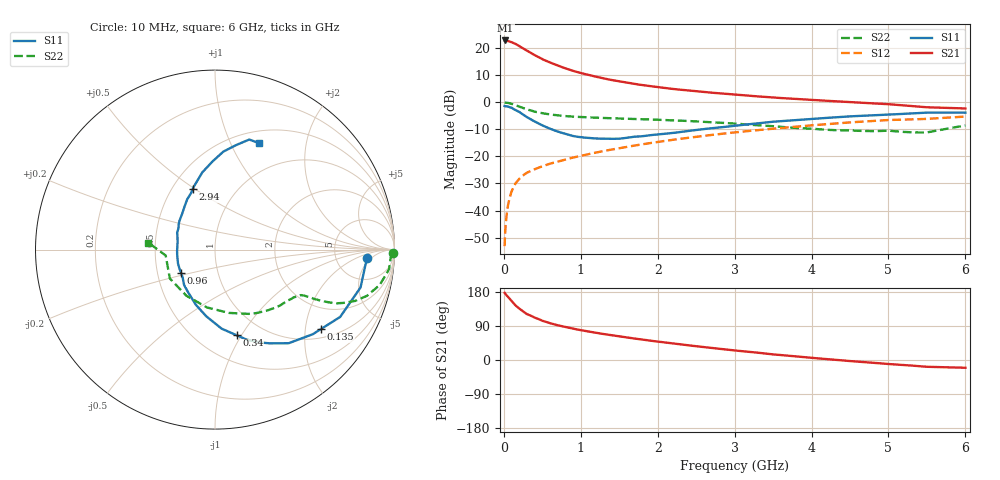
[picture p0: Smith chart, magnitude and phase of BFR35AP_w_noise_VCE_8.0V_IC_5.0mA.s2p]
! Infineon Technologies  Discrete & RF Semiconductors
! BFR35AP
! VCE =  8.0 V,  IC =  5.0 mA
! Common Emitter S-Parameters:  Nov 2015
# GHz  S  MA  R  50
!  f  S11  S21  S12  S22
! GHz  MAG  ANG  MAG  ANG  MAG  ANG  MAG  ANG
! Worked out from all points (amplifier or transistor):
!   210 points, 10 MHz to 6 GHz, reference 50 ohm
!   highest |S21| = 22.8 dB at 20 MHz (marker M1)
!   |S21| within 3 dB of that: start of sweep to 255 MHz
!   unconditionally stable (mu >= 1): 848.1 MHz to 3.047 GHz
!   at 185 MHz: K = 0.37, MSG = 24.9 dB, |S12| = -28.8 dB
!   at 1.52 GHz: K = 1.11, MAG = 10.2 dB, |S12| = -16.9 dB
!   at 6 GHz: K = 0.90, MSG = 1.5 dB, |S12| = -5.3 dB
!   lowest NFmin = 1.50 dB at 450 MHz
!   S11 on the Smith chart (normalised r, x): 10 MHz: 11, -4; 135 MHz: 1.25, -2.43; 340 MHz: 0.76, -0.95; 960 MHz: 0.66, -0.18; 2.94 GHz: 0.63, +0.49; 6 GHz: 0.64, +1.29
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0.01  0.8505 -3.1  13.8 177.2  0.0022 89.5  0.9932 -1.2
0.02  0.8421 -6.0  13.81 174.4  0.0046 87.6  0.9798 -2.6
0.05  0.8379 -14.6  13.58 167.3  0.0116 82.3  0.9762 -6.4
0.1  0.7918 -28.3  12.87 155.8  0.0224 75.8  0.9391 -12.1
0.135  0.7379 -36.9  12.21 147.9  0.0287 70.9  0.9008 -15.4
0.15  0.7203 -40.9  12 144.3  0.0314 69.4  0.8853 -16.9
0.2  0.6637 -51.8  10.89 135.8  0.0383 65.6  0.832 -20.1
0.3  0.5321 -70.6  8.976 121.2  0.0499 60.4  0.7367 -24.0
0.34  0.4924 -75.8  8.326 117.9  0.0531 59.6  0.7098 -24.6
0.4  0.442 -85.2  7.415 111.9  0.0579 58.5  0.6696 -25.5
0.5  0.3745 -97.5  6.218 103.6  0.0656 57.6  0.6254 -26.3
0.6  0.3249 -109.3  5.406 97.1  0.0733 57.6  0.5951 -26.6
0.8  0.2618 -131.1  4.219 86.8  0.0873 58.4  0.5543 -27.4
0.96  0.2299 -145.5  3.59 80.3  0.0993 59.0  0.5367 -28.4
1.02  0.2246 -151.8  3.405 78.0  0.1037 59.3  0.5316 -28.9
1.4  0.2109 174.8  2.571 65.3  0.1335 59.5  0.5068 -32.7
2.02  0.2562 140.0  1.884 48.0  0.1865 57.4  0.4739 -41.7
2.94  0.3597 110.2  1.408 26.6  0.2716 50.6  0.4091 -60.8
3.1  0.3806 106.8  1.35 23.3  0.2867 48.9  0.3938 -65.1
4.1  0.5029 90.1  1.084 4.0  0.3837 37.9  0.3167 -102.2
5.1  0.6005 77.7  0.896 -11.9  0.4731 24.0  0.2898 -152.1
6  0.642 67.5  0.767 -20.5  0.5436 13.2  0.3726 174.1
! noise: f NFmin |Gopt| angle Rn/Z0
0.45  1.5  0.28  29  0.34
0.9  1.8  0.25  59  0.34
